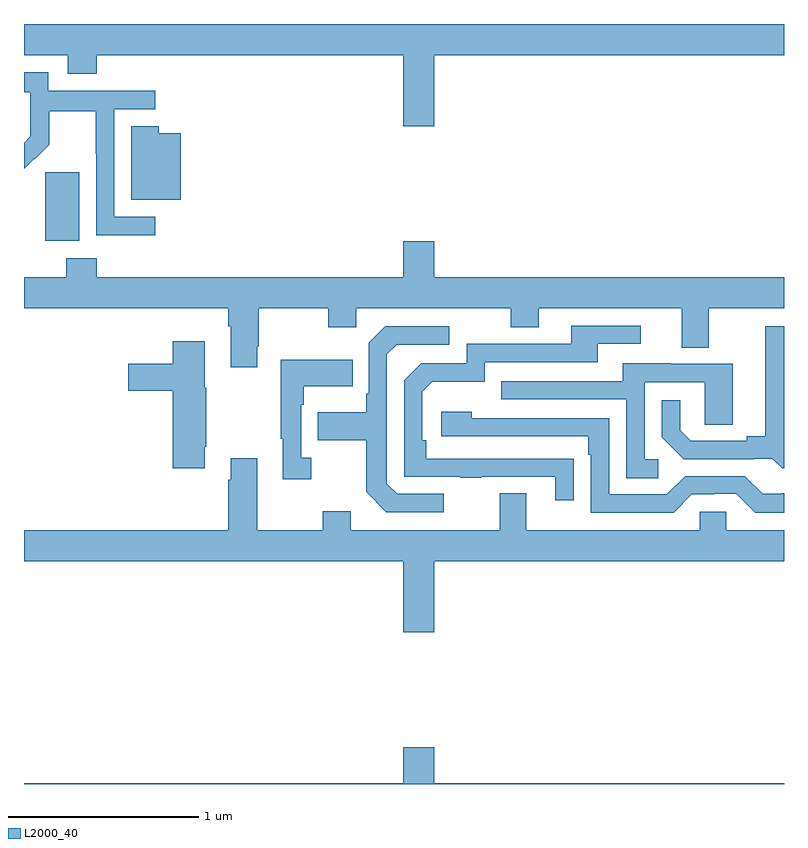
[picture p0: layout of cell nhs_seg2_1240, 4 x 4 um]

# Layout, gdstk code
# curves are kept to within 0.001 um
import gdstk
lib = gdstk.Library(unit=1e-6, precision=1e-09)
def R(c, l, rs):  # rectangles x0, y0, x1, y1
    for r in rs: c.add(gdstk.rectangle(r[:2], r[2:], *l))
def P(c, l, *ps):  # polygons
    for p in ps: c.add(gdstk.Polygon(p, *l))
L2000_40 = (2000, 40)

nhs_seg2_1240 = lib.new_cell('nhs_seg2_1240')
R(nhs_seg2_1240, L2000_40, [(175.112,646.658,175.291,647.019)])
P(nhs_seg2_1240, L2000_40, [(177.16,647.636),(179,647.636),(179,647.8),(175,647.8),(175,647.636),(175.229,647.636),(175.229,647.537),(175.382,647.537),(175.382,647.636),(176.996,647.636),(176.996,647.262),(177.16,647.262)],
  [(175.69,646.785),(175.476,646.785),(175.476,647.352),(175.69,647.352),(175.69,647.448),(175.128,647.448),(175.128,647.545),(175,647.545),(175,647.441),(175.032,647.441),(175.032,647.307),(175.034,647.307),(175.034,647.21),(175,647.176),(175,647.038),(175.053,647.091),(175.056,647.088),(175.133,647.165),(175.133,647.34),(175.378,647.34),(175.378,647.116),(175.38,647.116),(175.38,646.687),(175.69,646.687)],
  [(175.825,647.224),(175.709,647.224),(175.709,647.263),(175.565,647.263),(175.565,646.874),(175.825,646.874)],
  [(176.227,646.105),(176.235,646.105),(176.235,646.304),(176.602,646.304),(176.602,646.205),(176.748,646.205),(176.748,646.304),(177.562,646.304),(177.562,646.205),(177.709,646.205),(177.709,646.304),(178.463,646.304),(178.463,646.096),(178.603,646.096),(178.603,646.304),(179,646.304),(179,646.468),(177.16,646.468),(177.16,646.657),(176.996,646.657),(176.996,646.468),(175.382,646.468),(175.382,646.567),(175.222,646.567),(175.222,646.468),(175,646.468),(175,646.304),(176.075,646.304),(176.075,646.208),(176.087,646.208),(176.087,645.993),(176.227,645.993)],
  [(177.893,645.512),(177.116,645.513),(177.116,645.61),(177.096,645.61),(177.096,645.864),(177.149,645.917),(177.426,645.917),(177.426,646.02),(178.021,646.02),(178.021,646.116),(178.246,646.116),(178.246,646.212),(177.881,646.212),(177.881,646.116),(177.33,646.116),(177.33,646.014),(177.09,646.014),(177,645.924),(177,645.417),(177.295,645.417),(177.295,645.412),(177.407,645.412),(177.407,645.417),(177.797,645.417),(177.797,645.294),(177.893,645.294)],
  [(177.208,645.327),(176.964,645.327),(176.91,645.381),(176.91,646.062),(176.961,646.113),(177.238,646.113),(177.238,646.209),(176.901,646.209),(176.814,646.122),(176.814,645.853),(176.802,645.853),(176.802,645.757),(176.545,645.757),(176.545,645.61),(176.802,645.61),(176.802,645.337),(176.907,645.231),(177.208,645.231)],
  [(179,646.209),(178.901,646.209),(178.901,645.629),(178.805,645.629),(178.805,645.606),(178.51,645.606),(178.453,645.663),(178.453,645.82),(178.356,645.82),(178.356,645.626),(178.472,645.51),(178.844,645.51),(178.844,645.513),(178.938,645.513),(178.99,645.461),(179,645.461)],
  [(175.951,645.574),(175.959,645.574),(175.959,645.885),(175.951,645.885),(175.951,646.129),(175.784,646.129),(175.784,646.011),(175.548,646.011),(175.548,645.869),(175.784,645.869),(175.784,645.462),(175.951,645.462)],
  [(176.512,645.518),(176.46,645.518),(176.46,645.797),(176.473,645.797),(176.473,645.893),(176.729,645.893),(176.729,646.033),(176.352,646.033),(176.352,645.617),(176.363,645.617),(176.363,645.405),(176.512,645.405)],
  [(178.339,645.51),(178.266,645.51),(178.266,645.915),(178.584,645.915),(178.584,645.691),(178.729,645.691),(178.729,646.011),(178.405,646.011),(178.405,646.015),(178.151,646.015),(178.151,645.921),(177.511,645.921),(177.511,645.825),(178.17,645.825),(178.17,645.409),(178.339,645.409)],
  [(179,645.331),(178.987,645.331),(178.987,645.327),(178.887,645.327),(178.794,645.42),(178.479,645.42),(178.383,645.324),(178.08,645.324),(178.08,645.726),(177.356,645.726),(177.356,645.76),(177.195,645.76),(177.195,645.63),(177.971,645.63),(177.971,645.533),(177.984,645.533),(177.984,645.228),(178.419,645.228),(178.515,645.324),(178.634,645.324),(178.634,645.327),(178.749,645.327),(178.849,645.227),(179,645.227)],
  [(177.16,644.972),(179,644.972),(179,645.136),(178.695,645.136),(178.695,645.234),(178.557,645.234),(178.557,645.136),(177.643,645.136),(177.643,645.331),(177.503,645.331),(177.503,645.136),(176.719,645.136),(176.719,645.235),(176.572,645.235),(176.572,645.136),(176.227,645.136),(176.227,645.514),(176.087,645.514),(176.087,645.401),(176.075,645.401),(176.075,645.136),(175,645.136),(175,644.972),(176.996,644.972),(176.996,644.598),(177.16,644.598)],
  [(179,643.804),(177.16,643.804),(177.16,643.993),(176.996,643.993),(176.996,643.804),(175,643.804),(175,643.8),(179,643.8)])

lib.write_gds('nhs_seg2_1240.gds')
